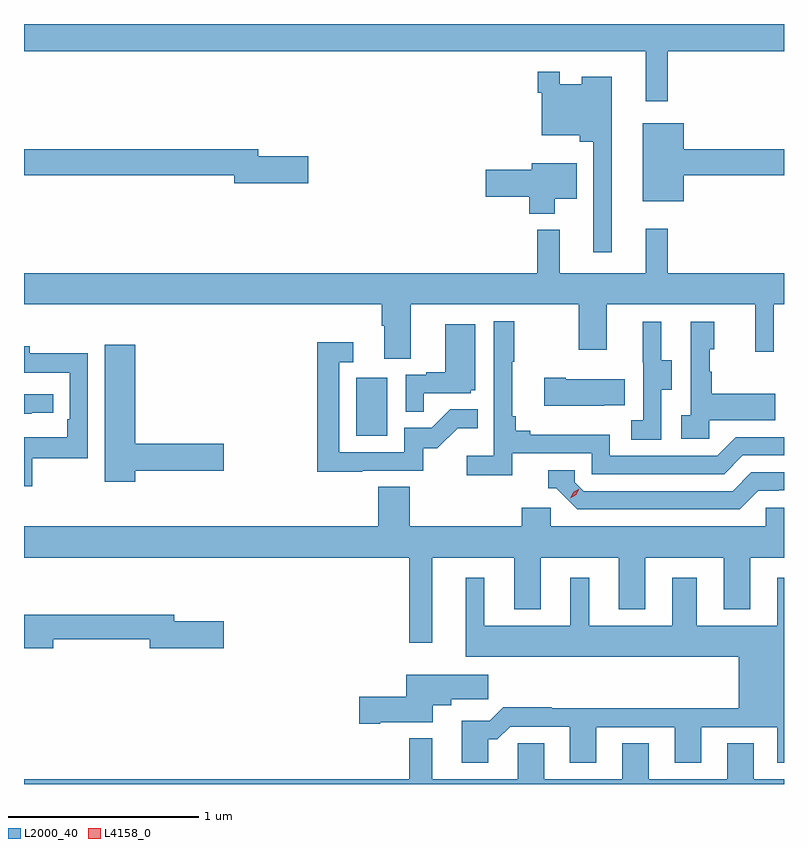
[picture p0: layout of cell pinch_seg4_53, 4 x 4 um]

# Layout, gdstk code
import gdstk
lib = gdstk.Library(unit=1e-6, precision=1e-09)
def R(c, l, rs):  # rectangles x0, y0, x1, y1
    for r in rs: c.add(gdstk.rectangle(r[:2], r[2:], *l))
def P(c, l, *ps):  # polygons
    for p in ps: c.add(gdstk.Polygon(p, *l))
L2000_40 = (2000, 40)
L4158_0 = (4158, 0)

pinch_seg4_53 = lib.new_cell('pinch_seg4_53')
R(pinch_seg4_53, L2000_40, [(1045.772,821.436,1045.936,821.743)])
P(pinch_seg4_53, L2000_40, [(1047.413,823.46),(1048.024,823.46),(1048.024,823.604),(1044.024,823.604),(1044.024,823.46),(1047.296,823.46),(1047.296,823.197),(1047.413,823.197)],
  [(1047.118,823.327),(1046.96,823.327),(1046.96,823.288),(1046.844,823.288),(1046.844,823.354),(1046.728,823.354),(1046.728,823.241),(1046.748,823.241),(1046.748,823.019),(1046.948,823.019),(1046.948,822.983),(1047.021,822.983),(1047.021,822.402),(1047.118,822.402)],
  [(1047.496,822.808),(1048.024,822.808),(1048.024,822.944),(1047.496,822.944),(1047.496,823.081),(1047.281,823.081),(1047.281,822.671),(1047.496,822.671)],
  [(1045.519,822.908),(1045.258,822.908),(1045.258,822.944),(1044.024,822.944),(1044.024,822.808),(1045.13,822.808),(1045.13,822.766),(1045.519,822.766)],
  [(1046.818,822.683),(1046.932,822.683),(1046.932,822.871),(1046.696,822.871),(1046.696,822.836),(1046.454,822.836),(1046.454,822.694),(1046.684,822.694),(1046.684,822.605),(1046.818,822.605)],
  [(1046.059,822.128),(1046.944,822.128),(1046.944,821.889),(1047.091,821.889),(1047.091,822.128),(1047.872,822.128),(1047.872,821.88),(1047.969,821.88),(1047.969,822.128),(1048.024,822.128),(1048.024,822.292),(1047.413,822.292),(1047.413,822.526),(1047.296,822.526),(1047.296,822.292),(1046.843,822.292),(1046.843,822.52),(1046.725,822.52),(1046.725,822.292),(1044.024,822.292),(1044.024,822.128),(1045.907,822.128),(1045.907,822.016),(1045.919,822.016),(1045.919,821.842),(1046.059,821.842)],
  [(1046.594,821.346),(1047.012,821.346),(1047.012,821.235),(1047.709,821.235),(1047.808,821.334),(1048.024,821.334),(1048.024,821.43),(1047.771,821.43),(1047.672,821.331),(1047.108,821.331),(1047.108,821.443),(1046.689,821.443),(1046.689,821.462),(1046.612,821.462),(1046.612,821.539),(1046.593,821.539),(1046.593,821.827),(1046.605,821.827),(1046.605,822.04),(1046.496,822.04),(1046.496,821.332),(1046.355,821.332),(1046.355,821.23),(1046.594,821.23)],
  [(1047.378,821.68),(1047.433,821.68),(1047.433,821.835),(1047.379,821.835),(1047.379,822.037),(1047.281,822.037),(1047.281,821.823),(1047.282,821.823),(1047.282,821.519),(1047.219,821.519),(1047.219,821.416),(1047.378,821.416)],
  [(1047.63,821.519),(1047.977,821.519),(1047.977,821.659),(1047.643,821.659),(1047.643,821.774),(1047.633,821.774),(1047.633,821.892),(1047.658,821.892),(1047.658,822.037),(1047.534,822.037),(1047.534,821.546),(1047.483,821.546),(1047.483,821.421),(1047.63,821.421)],
  [(1046.129,821.661),(1046.376,821.661),(1046.376,821.676),(1046.398,821.676),(1046.398,822.025),(1046.24,822.025),(1046.24,821.77),(1046.141,821.77),(1046.141,821.757),(1046.034,821.757),(1046.034,821.563),(1046.129,821.563)],
  [(1045.805,821.253),(1046.124,821.253),(1046.124,821.37),(1046.2,821.37),(1046.307,821.477),(1046.411,821.477),(1046.411,821.576),(1046.267,821.576),(1046.169,821.478),(1046.025,821.478),(1046.025,821.349),(1045.683,821.349),(1045.683,821.823),(1045.756,821.823),(1045.756,821.929),(1045.567,821.929),(1045.567,821.248),(1045.805,821.248)],
  [(1044.61,821.254),(1045.075,821.254),(1045.075,821.396),(1044.61,821.396),(1044.61,821.917),(1044.449,821.917),(1044.449,821.196),(1044.61,821.196)],
  [(1044.067,821.319),(1044.36,821.319),(1044.36,821.87),(1044.055,821.87),(1044.055,821.908),(1044.024,821.908),(1044.024,821.769),(1044.264,821.769),(1044.264,821.524),(1044.251,821.524),(1044.251,821.428),(1044.024,821.428),(1044.024,821.172),(1044.067,821.172)],
  [(1047.077,821.597),(1047.185,821.597),(1047.185,821.734),(1046.875,821.734),(1046.875,821.742),(1046.763,821.742),(1046.763,821.594),(1047.077,821.594)],
  [(1044.065,821.559),(1044.178,821.559),(1044.178,821.655),(1044.024,821.655),(1044.024,821.554),(1044.065,821.554)],
  [(1047.889,821.148),(1047.996,821.148),(1047.996,821.151),(1048.024,821.151),(1048.024,821.244),(1047.852,821.244),(1047.753,821.145),(1046.97,821.145),(1046.922,821.193),(1046.922,821.256),(1046.783,821.256),(1046.783,821.16),(1046.826,821.16),(1046.937,821.049),(1047.79,821.049)],
  [(1045.889,820.96),(1044.024,820.96),(1044.024,820.796),(1046.052,820.796),(1046.052,820.347),(1046.173,820.347),(1046.173,820.796),(1046.603,820.796),(1046.603,820.523),(1046.743,820.523),(1046.743,820.796),(1047.155,820.796),(1047.155,820.523),(1047.295,820.523),(1047.295,820.796),(1047.707,820.796),(1047.707,820.523),(1047.847,820.523),(1047.847,820.796),(1048.024,820.796),(1048.024,821.058),(1047.927,821.058),(1047.927,820.96),(1046.796,820.96),(1046.796,821.058),(1046.645,821.058),(1046.645,820.96),(1046.054,820.96),(1046.054,821.168),(1045.889,821.168)],
  [(1046.467,819.839),(1046.516,819.839),(1046.583,819.906),(1046.897,819.906),(1046.897,819.717),(1047.037,819.717),(1047.037,819.903),(1047.449,819.903),(1047.449,819.717),(1047.589,819.717),(1047.589,819.903),(1047.989,819.903),(1047.989,819.717),(1048.024,819.717),(1048.024,820.69),(1047.989,820.69),(1047.989,820.438),(1047.565,820.438),(1047.565,820.69),(1047.437,820.69),(1047.437,820.438),(1046.998,820.438),(1046.998,820.69),(1046.9,820.69),(1046.9,820.438),(1046.446,820.438),(1046.446,820.69),(1046.348,820.69),(1046.348,820.274),(1047.785,820.274),(1047.785,820.004),(1046.801,820.004),(1046.801,820.007),(1046.546,820.007),(1046.476,819.937),(1046.327,819.937),(1046.327,819.717),(1046.467,819.717)],
  [(1044.178,820.366),(1044.686,820.366),(1044.686,820.319),(1045.075,820.319),(1045.075,820.461),(1044.814,820.461),(1044.814,820.495),(1044.024,820.495),(1044.024,820.319),(1044.178,820.319)],
  [(1045.9,819.929),(1046.176,819.929),(1046.176,820.019),(1046.272,820.019),(1046.272,820.051),(1046.467,820.051),(1046.467,820.18),(1046.036,820.18),(1046.036,820.064),(1045.788,820.064),(1045.788,819.922),(1045.9,819.922)],
  [(1048.024,819.628),(1047.865,819.628),(1047.865,819.818),(1047.725,819.818),(1047.725,819.628),(1047.313,819.628),(1047.313,819.818),(1047.173,819.818),(1047.173,819.628),(1046.761,819.628),(1046.761,819.818),(1046.622,819.818),(1046.622,819.628),(1046.173,819.628),(1046.173,819.844),(1046.052,819.844),(1046.052,819.628),(1044.024,819.628),(1044.024,819.604),(1048.024,819.604)])
P(pinch_seg4_53, L4158_0, [(1046.898,821.107),(1046.898,821.107),(1046.915,821.14),(1046.946,821.159),(1046.947,821.159),(1046.947,821.159),(1046.93,821.126),(1046.899,821.107)])

lib.write_gds('pinch_seg4_53.gds')
